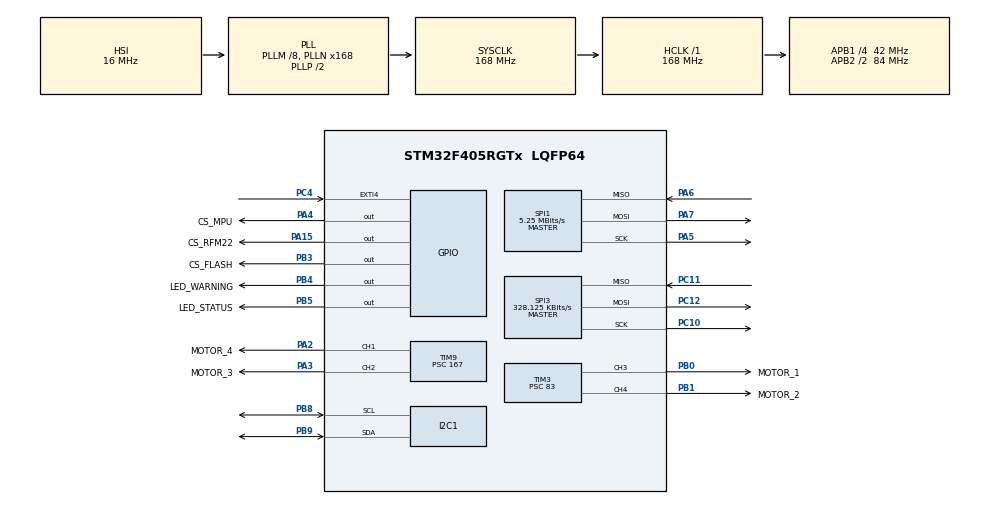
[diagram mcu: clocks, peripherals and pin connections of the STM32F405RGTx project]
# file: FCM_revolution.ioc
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FREERTOS.INCLUDE_uxTaskGetStackHighWaterMark=1
FREERTOS.INCLUDE_vTaskDelayUntil=1
FREERTOS.Tasks01=defaultTask,-2,128,StartDefaultTask,Default,NULL,Dynamic,NULL,NULL;gather_inertial_data,1,128,task_gather_inertial_data,Default,NULL,Dynamic,NULL,NULL;determine_gyroscope_bias,0,2048,task_determine_gyroscope_bias,Default,NULL,Dynamic,NULL,NULL
FREERTOS.Timers01=software_timer,software_timer_callback,osTimerOnce,Default,NULL,Dynamic,NULL
FREERTOS.configMAX_TASK_NAME_LEN=32
FREERTOS.configTIMER_TASK_PRIORITY=1
FREERTOS.configUSE_TIMERS=1
Mcu.Family=STM32F4
Mcu.Name=STM32F405RGTx
Mcu.Package=LQFP64
NVIC.PriorityGroup=NVIC_PRIORITYGROUP_4
NVIC.TIM8_TRG_COM_TIM14_IRQn=true\:0\:0\:false\:false\:true\:false\:true
NVIC.TimeBase=TIM8_TRG_COM_TIM14_IRQn
NVIC.TimeBaseIP=TIM14
PA13.Mode=Serial_Wire
PA13.Signal=SYS_JTMS-SWDIO
PA14.Mode=Serial_Wire
PA14.Signal=SYS_JTCK-SWCLK
PA15.GPIO_Label=CS_RFM22
PA15.Signal=GPIO_Output
PA2.GPIO_Label=MOTOR_4
PA2.Signal=S_TIM9_CH1
PA3.GPIO_Label=MOTOR_3
PA3.Signal=S_TIM9_CH2
PA4.GPIO_Label=CS_MPU
PA4.Signal=GPIO_Output
PA5.Mode=Full_Duplex_Master
PA5.Signal=SPI1_SCK
PA6.Mode=Full_Duplex_Master
PA6.Signal=SPI1_MISO
PA7.Mode=Full_Duplex_Master
PA7.Signal=SPI1_MOSI
PB0.GPIO_Label=MOTOR_1
PB0.Signal=S_TIM3_CH3
PB1.GPIO_Label=MOTOR_2
PB1.Signal=S_TIM3_CH4
PB3.GPIO_Label=CS_FLASH
PB3.Signal=GPIO_Output
PB4.GPIO_Label=LED_WARNING
PB4.Signal=GPIO_Output
PB5.GPIO_Label=LED_STATUS
PB5.Signal=GPIO_Output
PB8.Mode=I2C
PB8.Signal=I2C1_SCL
PB9.Mode=I2C
PB9.Signal=I2C1_SDA
PC10.Mode=Full_Duplex_Master
PC10.Signal=SPI3_SCK
PC11.Mode=Full_Duplex_Master
PC11.Signal=SPI3_MISO
PC12.Mode=Full_Duplex_Master
PC12.Signal=SPI3_MOSI
PC4.Signal=GPXTI4
PH0-OSC_IN.Mode=HSE-External-Oscillator
PH0-OSC_IN.Signal=RCC_OSC_IN
PH1-OSC_OUT.Mode=HSE-External-Oscillator
PH1-OSC_OUT.Signal=RCC_OSC_OUT
ProjectManager.HeapSize=0x200
ProjectManager.StackSize=0x400
ProjectManager.TargetToolchain=TrueSTUDIO
RCC.48MHZClocksFreq_Value=84000000
RCC.AHBCLKDivider=RCC_SYSCLK_DIV1
RCC.AHBFreq_Value=168000000
RCC.APB1CLKDivider=RCC_HCLK_DIV4
RCC.APB1Freq_Value=42000000
RCC.APB1TimFreq_Value=84000000
RCC.APB2CLKDivider=RCC_HCLK_DIV2
RCC.APB2Freq_Value=84000000
RCC.APB2TimFreq_Value=168000000
RCC.CortexFreq_Value=168000000
RCC.Cortex_Div=SYSTICK_CLKSOURCE_HCLK
RCC.HCLKFreq_Value=168000000
RCC.HSE_VALUE=8000000
RCC.HSI_VALUE=16000000
RCC.LSE_VALUE=32768
RCC.PLLM=8
RCC.PLLN=168
RCC.PLLP=RCC_PLLP_DIV2
RCC.PLLSourceVirtual=RCC_PLLSOURCE_HSI
RCC.RCC_MCODiv1=RCC_MCODIV_1
RCC.RCC_MCODiv2=RCC_MCODIV_1
RCC.RCC_RTC_Clock_Source_FROM_HSE=RCC_RTCCLKSOURCE_HSE_DIV2
RCC.SYSCLKFreq_VALUE=168000000
RCC.SYSCLKSource=RCC_SYSCLKSOURCE_PLLCLK
RCC.VCOOutputFreq_Value=336000000
SH.S_TIM3_CH3.0=TIM3_CH3,PWM Generation3 CH3
SH.S_TIM3_CH4.0=TIM3_CH4,PWM Generation4 CH4
SH.S_TIM9_CH1.0=TIM9_CH1,PWM Generation1 CH1
SH.S_TIM9_CH2.0=TIM9_CH2,PWM Generation2 CH2
SPI1.BaudRatePrescaler=SPI_BAUDRATEPRESCALER_16
SPI1.CLKPhase=SPI_PHASE_2EDGE
SPI1.CLKPolarity=SPI_POLARITY_HIGH
SPI1.CalculateBaudRate=5.25 MBits/s
SPI1.Direction=SPI_DIRECTION_2LINES
SPI1.Mode=SPI_MODE_MASTER
SPI1.VirtualType=VM_MASTER
SPI3.BaudRatePrescaler=SPI_BAUDRATEPRESCALER_128
SPI3.CLKPhase=SPI_PHASE_1EDGE
SPI3.CLKPolarity=SPI_POLARITY_LOW
SPI3.CalculateBaudRate=328.125 KBits/s
SPI3.Direction=SPI_DIRECTION_2LINES
SPI3.Mode=SPI_MODE_MASTER
SPI3.VirtualType=VM_MASTER
TIM3.Channel-PWM\ Generation3\ CH3=TIM_CHANNEL_3
TIM3.Channel-PWM\ Generation4\ CH4=TIM_CHANNEL_4
TIM3.Period=19999
TIM3.Prescaler=83
TIM9.Channel-PWM\ Generation1\ CH1=TIM_CHANNEL_1
TIM9.Channel-PWM\ Generation2\ CH2=TIM_CHANNEL_2
TIM9.Period=19999
TIM9.Prescaler=167
VP_FREERTOS_VS_ENABLE.Mode=Enabled
VP_SYS_VS_tim14.Mode=TIM14
VP_TIM3_VS_ClockSourceINT.Mode=Internal
VP_TIM9_VS_ClockSourceINT.Mode=Internal
board=FCM_revolution

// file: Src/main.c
/**
  ******************************************************************************
  * @file           : main.c
  * @brief          : Main program body
  ******************************************************************************
  * This notice applies to any and all portions of this file
  * that are not between comment pairs USER CODE BEGIN and
  * USER CODE END. Other portions of this file, whether
  * inserted by the user or by software development tools
  * are owned by their respective copyright owners.
  *
  * Copyright (c) 2018 STMicroelectronics International N.V.
  * All rights reserved.
  *
  * Redistribution and use in source and binary forms, with or without
  * modification, are permitted, provided that the following conditions are met:
  *
  * 1. Redistribution of source code must retain the above copyright notice,
  *    this list of conditions and the following disclaimer.
  * 2. Redistributions in binary form must reproduce the above copyright notice,
  *    this list of conditions and the following disclaimer in the documentation
  *    and/or other materials provided with the distribution.
  * 3. Neither the name of STMicroelectronics nor the names of other
  *    contributors to this software may be used to endorse or promote products
  *    derived from this software without specific written permission.
  * 4. This software, including modifications and/or derivative works of this
  *    software, must execute solely and exclusively on microcontroller or
  *    microprocessor devices manufactured by or for STMicroelectronics.
  * 5. Redistribution and use of this software other than as permitted under
  *    this license is void and will automatically terminate your rights under
  *    this license.
  *
  * THIS SOFTWARE IS PROVIDED BY STMICROELECTRONICS AND CONTRIBUTORS "AS IS"
  * AND ANY EXPRESS, IMPLIED OR STATUTORY WARRANTIES, INCLUDING, BUT NOT
  * LIMITED TO, THE IMPLIED WARRANTIES OF MERCHANTABILITY, FITNESS FOR A
  * PARTICULAR PURPOSE AND NON-INFRINGEMENT OF THIRD PARTY INTELLECTUAL PROPERTY
  * RIGHTS ARE DISCLAIMED TO THE FULLEST EXTENT PERMITTED BY LAW. IN NO EVENT
  * SHALL STMICROELECTRONICS OR CONTRIBUTORS BE LIABLE FOR ANY DIRECT, INDIRECT,
  * INCIDENTAL, SPECIAL, EXEMPLARY, OR CONSEQUENTIAL DAMAGES (INCLUDING, BUT NOT
  * LIMITED TO, PROCUREMENT OF SUBSTITUTE GOODS OR SERVICES; LOSS OF USE, DATA,
  * OR PROFITS; OR BUSINESS INTERRUPTION) HOWEVER CAUSED AND ON ANY THEORY OF
  * LIABILITY, WHETHER IN CONTRACT, STRICT LIABILITY, OR TORT (INCLUDING
  * NEGLIGENCE OR OTHERWISE) ARISING IN ANY WAY OUT OF THE USE OF THIS SOFTWARE,
  * EVEN IF ADVISED OF THE POSSIBILITY OF SUCH DAMAGE.
  *
  ******************************************************************************
  */
#include "main.h"
#include "stm32f4xx_hal.h"
#include "cmsis_os.h"
#include "i2c.h"
#include "spi.h"
#include "tim.h"
#include "gpio.h"

/* USER CODE BEGIN Includes */

#include "mpu6000.h"
#include "fcm_led.h"
#include "m25p16_flash.h"

/* USER CODE END Includes */

/* USER CODE BEGIN PV */
/* Private variables ---------------------------------------------------------*/
Vector raw_acc_data; // tmp
Vector raw_gyro_data; // tmp
/* USER CODE END PV */

void SystemClock_Config(void);
void MX_FREERTOS_Init(void);

/* USER CODE BEGIN PFP */
/* Private function prototypes -----------------------------------------------*/

/* USER CODE END PFP */

int main(void)
{

  /* MCU Configuration----------------------------------------------------------*/

  /* Reset of all peripherals, Initializes the Flash interface and the Systick. */
  HAL_Init();

  /* Configure the system clock */
  SystemClock_Config();

  /* Initialize all configured peripherals */
  MX_GPIO_Init();
  MX_SPI1_Init();
  MX_TIM9_Init();
  MX_TIM3_Init();
  MX_SPI3_Init();
  MX_I2C1_Init();

  /* Call init function for freertos objects (in freertos.c) */
  MX_FREERTOS_Init();

  /* Start scheduler */
  osKernelStart();

  /* We should never get here as control is now taken by the scheduler */

  /* Infinite loop */
  /* USER CODE BEGIN WHILE */

  statusLedOn();
  warningLedOff();

  fcm_spi_init();
  flash_memory_init();
  mpu_6000_init();

  while (1)
  {

  /* USER CODE END WHILE */

  }

}

void SystemClock_Config(void)
{

  RCC_OscInitTypeDef RCC_OscInitStruct;
  RCC_ClkInitTypeDef RCC_ClkInitStruct;

    /**Configure the main internal regulator output voltage
    */
  __HAL_RCC_PWR_CLK_ENABLE();

  __HAL_PWR_VOLTAGESCALING_CONFIG(PWR_REGULATOR_VOLTAGE_SCALE1);

    /**Initializes the CPU, AHB and APB busses clocks
    */
  RCC_OscInitStruct.OscillatorType = RCC_OSCILLATORTYPE_HSI;
  RCC_OscInitStruct.HSIState = RCC_HSI_ON;
  RCC_OscInitStruct.HSICalibrationValue = 16;
  RCC_OscInitStruct.PLL.PLLState = RCC_PLL_ON;
  RCC_OscInitStruct.PLL.PLLSource = RCC_PLLSOURCE_HSI;
  RCC_OscInitStruct.PLL.PLLM = 8;
  RCC_OscInitStruct.PLL.PLLN = 168;
  RCC_OscInitStruct.PLL.PLLP = RCC_PLLP_DIV2;
  RCC_OscInitStruct.PLL.PLLQ = 4;
  if (HAL_RCC_OscConfig(&RCC_OscInitStruct) != HAL_OK)
  {
    _Error_Handler(__FILE__, __LINE__);
  }

    /**Initializes the CPU, AHB and APB busses clocks
    */
  RCC_ClkInitStruct.ClockType = RCC_CLOCKTYPE_HCLK|RCC_CLOCKTYPE_SYSCLK
                              |RCC_CLOCKTYPE_PCLK1|RCC_CLOCKTYPE_PCLK2;
  RCC_ClkInitStruct.SYSCLKSource = RCC_SYSCLKSOURCE_PLLCLK;
  RCC_ClkInitStruct.AHBCLKDivider = RCC_SYSCLK_DIV1;
  RCC_ClkInitStruct.APB1CLKDivider = RCC_HCLK_DIV4;
  RCC_ClkInitStruct.APB2CLKDivider = RCC_HCLK_DIV2;

  if (HAL_RCC_ClockConfig(&RCC_ClkInitStruct, FLASH_LATENCY_5) != HAL_OK)
  {
    _Error_Handler(__FILE__, __LINE__);
  }

    /**Configure the Systick interrupt time
    */
  HAL_SYSTICK_Config(HAL_RCC_GetHCLKFreq()/1000);

    /**Configure the Systick
    */
  HAL_SYSTICK_CLKSourceConfig(SYSTICK_CLKSOURCE_HCLK);

  /* SysTick_IRQn interrupt configuration */
  HAL_NVIC_SetPriority(SysTick_IRQn, 15, 0);
}

void HAL_TIM_PeriodElapsedCallback(TIM_HandleTypeDef *htim)
{
  if (htim->Instance == TIM14) {
    HAL_IncTick();
  }
}

void _Error_Handler(char *file, int line)
{
  while(1)
  {
  }
}

/************************ (C) COPYRIGHT STMicroelectronics *****END OF FILE****/

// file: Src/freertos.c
/**
  ******************************************************************************
  * File Name          : freertos.c
  * Description        : Code for freertos applications
  ******************************************************************************
  * This notice applies to any and all portions of this file
  * that are not between comment pairs USER CODE BEGIN and
  * USER CODE END. Other portions of this file, whether
  * inserted by the user or by software development tools
  * are owned by their respective copyright owners.
  *
  * Copyright (c) 2018 STMicroelectronics International N.V.
  * All rights reserved.
  *
  * Redistribution and use in source and binary forms, with or without
  * modification, are permitted, provided that the following conditions are met:
  *
  * 1. Redistribution of source code must retain the above copyright notice,
  *    this list of conditions and the following disclaimer.
  * 2. Redistributions in binary form must reproduce the above copyright notice,
  *    this list of conditions and the following disclaimer in the documentation
  *    and/or other materials provided with the distribution.
  * 3. Neither the name of STMicroelectronics nor the names of other
  *    contributors to this software may be used to endorse or promote products
  *    derived from this software without specific written permission.
  * 4. This software, including modifications and/or derivative works of this
  *    software, must execute solely and exclusively on microcontroller or
  *    microprocessor devices manufactured by or for STMicroelectronics.
  * 5. Redistribution and use of this software other than as permitted under
  *    this license is void and will automatically terminate your rights under
  *    this license.
  *
  * THIS SOFTWARE IS PROVIDED BY STMICROELECTRONICS AND CONTRIBUTORS "AS IS"
  * AND ANY EXPRESS, IMPLIED OR STATUTORY WARRANTIES, INCLUDING, BUT NOT
  * LIMITED TO, THE IMPLIED WARRANTIES OF MERCHANTABILITY, FITNESS FOR A
  * PARTICULAR PURPOSE AND NON-INFRINGEMENT OF THIRD PARTY INTELLECTUAL PROPERTY
  * RIGHTS ARE DISCLAIMED TO THE FULLEST EXTENT PERMITTED BY LAW. IN NO EVENT
  * SHALL STMICROELECTRONICS OR CONTRIBUTORS BE LIABLE FOR ANY DIRECT, INDIRECT,
  * INCIDENTAL, SPECIAL, EXEMPLARY, OR CONSEQUENTIAL DAMAGES (INCLUDING, BUT NOT
  * LIMITED TO, PROCUREMENT OF SUBSTITUTE GOODS OR SERVICES; LOSS OF USE, DATA,
  * OR PROFITS; OR BUSINESS INTERRUPTION) HOWEVER CAUSED AND ON ANY THEORY OF
  * LIABILITY, WHETHER IN CONTRACT, STRICT LIABILITY, OR TORT (INCLUDING
  * NEGLIGENCE OR OTHERWISE) ARISING IN ANY WAY OUT OF THE USE OF THIS SOFTWARE,
  * EVEN IF ADVISED OF THE POSSIBILITY OF SUCH DAMAGE.
  *
  ******************************************************************************
  */

#include "FreeRTOS.h"
#include "task.h"
#include "cmsis_os.h"

/* USER CODE BEGIN Includes */
#include "fcm_led.h"
#include "fcm_spi.h"
#include "fcm_i2c.h"
#include "fcm_motors.h"
#include "imu.h"
#include "allan_variance.h"
#include "m25p16_flash.h"
#include "static_detector.h"

/* USER CODE END Includes */

osThreadId defaultTaskHandle;
osThreadId gather_inertial_dataHandle;
osThreadId determine_gyroscope_biasHandle;
osTimerId software_timerHandle;

/* USER CODE BEGIN Variables */

Imu imu;
Vector allan_variance_global; // tmp
char error_message[100] = {'\0'};

#define DATA_GATHERING_FREQUENCY 10 // Hz
#define ALLAN_VARIANCE_TIME_SLOT 1000 // ms
#define ALLAN_VARIANCE_SAMPLES_NUMBER ALLAN_VARIANCE_TIME_SLOT / DATA_GATHERING_FREQUENCY
#define ALLAN_VARIANCE_TIME_HORIZON 225

/* USER CODE END Variables */

void StartDefaultTask(void const * argument);
void task_gather_inertial_data(void const * argument);
void task_determine_gyroscope_bias(void const * argument);
void software_timer_callback(void const * argument);

void MX_FREERTOS_Init(void); /* (MISRA C 2004 rule 8.1) */

/* Hook prototypes */

/* Init FreeRTOS */

void MX_FREERTOS_Init(void) {
  /* USER CODE BEGIN Init */

	statusLedOn();
	warningLedOff();

	fcm_spi_init();
	imu_init(&imu);
	flash_memory_init();

	motors_init();

  /* USER CODE END Init */

  /* Create the timer(s) */
  /* definition and creation of software_timer */
  osTimerDef(software_timer, software_timer_callback);
  software_timerHandle = osTimerCreate(osTimer(software_timer), osTimerOnce, NULL);

  /* Create the thread(s) */
  /* definition and creation of defaultTask */
  osThreadDef(defaultTask, StartDefaultTask, osPriorityLow, 0, 128);
  defaultTaskHandle = osThreadCreate(osThread(defaultTask), NULL);

  /* definition and creation of gather_inertial_data */
  osThreadDef(gather_inertial_data, task_gather_inertial_data, osPriorityAboveNormal, 0, 128);
  gather_inertial_dataHandle = osThreadCreate(osThread(gather_inertial_data), NULL);

  /* definition and creation of determine_gyroscope_bias */
  osThreadDef(determine_gyroscope_bias, task_determine_gyroscope_bias, osPriorityNormal, 0, 2048);
  determine_gyroscope_biasHandle = osThreadCreate(osThread(determine_gyroscope_bias), NULL);

}

/* StartDefaultTask function */
void StartDefaultTask(void const * argument)
{

  for(;;)
  {
    osDelay(1);
  }
}

/* task_gather_inertial_data function */
void task_gather_inertial_data(void const * argument)
{
  /* USER CODE BEGIN task_gather_inertial_data */
	TickType_t xLastWakeTime = xTaskGetTickCount();
	TickType_t xFrequency = pdMS_TO_TICKS(DATA_GATHERING_FREQUENCY); // data gathered every 10ms
	Status status;
	uint8_t iter = 0;
	vector_int16_t raw_acc_data;
	vector_int16_t raw_gyro_data;

	volatile uint32_t flash_memory_address = 0x00;
	uint8_t vector_size = sizeof(Vector);
	uint32_t vectors_written = 0;
	Vector accelero_signals_sum;
	Vector gyro_signals_sum;
	vector_clear(&accelero_signals_sum);
	vector_clear(&gyro_signals_sum);
  /* Infinite loop */
  for(;;)
  {
    vTaskDelayUntil(&xLastWakeTime, xFrequency);
    status = mpu_6000_read_raw_data(&raw_acc_data, &raw_gyro_data);
    if (status != HAL_OK) {
    	warningLedOn();
    	sprintf(error_message, "Error: task_gather_inertial_data: read_raw_data_status: %d", status);
    } else {
    	imu_set_raw_data(&imu, &raw_acc_data, &raw_gyro_data, NULL);
    	if (vectors_written < 1000){

    		// sum up all signals in init static phase
    		accelero_signals_sum = vector_add(&accelero_signals_sum, &raw_acc_data);
    		gyro_signals_sum = vector_add(&gyro_signals_sum, &raw_gyro_data);

    		// save raw measurements to external flash for post-processing
    		flash_memory_write(flash_memory_address, (uint8_t*)(&raw_acc_data), vector_size);
    		flash_memory_address += vector_size;
    		flash_memory_write(flash_memory_address, (uint8_t*)(&raw_gyro_data), vector_size);
    		flash_memory_address += vector_size;
    		vectors_written++;
    	}

    	if (iter >=50) {
    		iter = 0;
    		statusLedToggle();
    	} else {
    		iter ++;
    	}
    }
    xTaskNotifyGive(determine_gyroscope_biasHandle);
    // TODO add gathering of magnetometer data
  }
  /* USER CODE END task_gather_inertial_data */
}

/* task_determine_gyroscope_bias function */
void task_determine_gyroscope_bias(void const * argument)
{
  /* USER CODE BEGIN task_determine_gyroscope_bias */

	Allan_Variance allan_variance_data;
	allan_variance_init(&allan_variance_data, 100, 1, 100);

	// Static analyzer
	volatile UBaseType_t stack = uxTaskGetStackHighWaterMark(determine_gyroscope_biasHandle);

  /* Infinite loop */
  for(;;)
  {
	  ulTaskNotifyTake(pdTRUE, pdMS_TO_TICKS(2*DATA_GATHERING_FREQUENCY));
    // TODO Handle timeout

	  if (allan_variance_update(&allan_variance_data, &raw_gyro_data)) {
		  allan_variance_global = allan_variance_get_last_computed_allan_variance(&allan_variance_data);
	  }

	  // check stack highest state
	  stack = uxTaskGetStackHighWaterMark(determine_gyroscope_biasHandle);

	  //--------------------------------------------------------
	  // calculate threshold from static phase for static detector

	  flash_memory_read(flash_memory_address, after, vector_size);

  }
  /* USER CODE END task_determine_gyroscope_bias */
}

/* software_timer_callback function */
void software_timer_callback(void const * argument)
{
}

/************************ (C) COPYRIGHT STMicroelectronics *****END OF FILE****/
